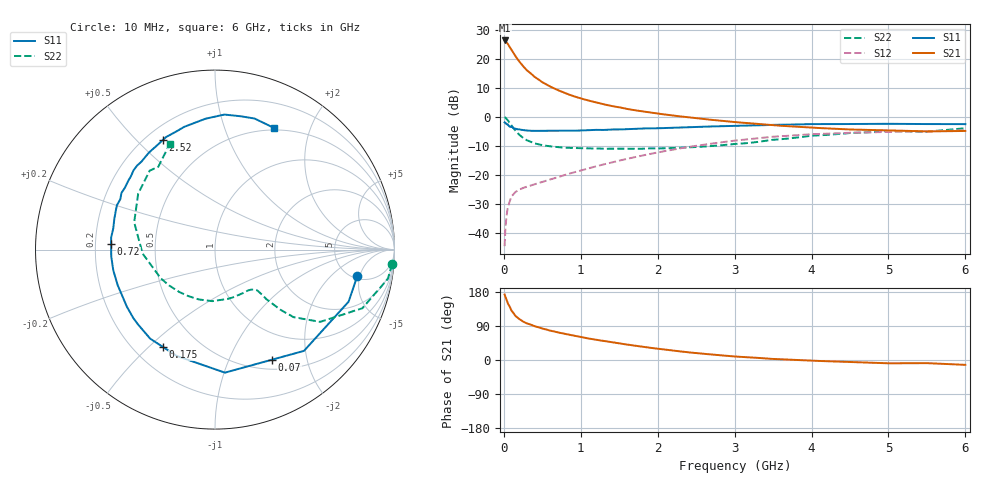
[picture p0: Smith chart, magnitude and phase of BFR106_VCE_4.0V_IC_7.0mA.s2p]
! Infineon Technologies  Discrete & RF Semiconductors
! BFR106
! VCE =  4.0 V,  IC =  7.0 mA
! Common Emitter S-Parameters:  Nov 2015
# GHz  S  MA  R  50
!  f  S11  S21  S12  S22
! GHz  MAG  ANG  MAG  ANG  MAG  ANG  MAG  ANG
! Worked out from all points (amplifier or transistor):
!   210 points, 10 MHz to 6 GHz, reference 50 ohm
!   highest |S21| = 26.4 dB at 10 MHz (marker M1)
!   |S21| within 3 dB of that: start of sweep to 94.12 MHz
!   unconditionally stable (mu >= 1): 558 MHz to 2.05 GHz; 4.996 GHz to end of sweep
!   at 185 MHz: K = 0.46, MSG = 22.5 dB, |S12| = -25.3 dB
!   at 1.52 GHz: K = 1.10, MAG = 7.2 dB, |S12| = -14.9 dB
!   at 6 GHz: K = 1.02, MAG = -0.9 dB, |S12| = -4.6 dB
!   S11 on the Smith chart (normalised r, x): 10 MHz: 5.42, -4.56; 70 MHz: 0.62, -1.46; 175 MHz: 0.32, -0.56; 720 MHz: 0.27, +0.02; 2.52 GHz: 0.27, +0.60; 6 GHz: 0.48, +1.49
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0.01  0.8064 -10.5  20.93 172.7  0.0059 85.4  0.9901 -4.7
0.02  0.7989 -21.3  20.68 167.1  0.0117 79.4  0.9769 -9.6
0.05  0.7511 -48.7  18.4 149.8  0.0269 66.7  0.8838 -21.7
0.07  0.6911 -62.5  16.6 143.0  0.033 59.9  0.8099 -26.2
0.1  0.6878 -85.4  14.46 130.0  0.0427 53.4  0.7106 -34.5
0.15  0.6296 -109.9  11.23 116.2  0.0506 45.3  0.5769 -40.7
0.175  0.6154 -117.9  10.13 112.5  0.0532 43.9  0.5355 -41.6
0.2  0.6136 -126.1  9.082 108.0  0.0559 42.6  0.4943 -42.6
0.24  0.5979 -136.1  7.822 102.8  0.0589 42.1  0.4452 -43.3
0.3  0.5848 -147.2  6.391 96.6  0.0627 42.9  0.3965 -44.0
0.4  0.5773 -159.9  4.923 89.2  0.069 44.8  0.3502 -43.7
0.5  0.5784 -168.5  3.981 83.0  0.0755 47.9  0.3251 -44.1
0.6  0.5793 -176.2  3.366 77.6  0.0833 50.7  0.3117 -45.5
0.72  0.5798 177.0  2.847 72.1  0.093 53.9  0.3004 -48.0
1.02  0.5863 163.1  2.056 59.9  0.1212 58.6  0.2893 -56.1
1.4  0.6092 148.8  1.549 47.1  0.1639 61.2  0.2844 -70.4
2.02  0.6399 129.3  1.138 29.2  0.2473 58.5  0.2868 -99.2
2.52  0.6756 115.6  0.948 17.9  0.3211 52.5  0.3039 -126.2
3.1  0.7085 102.1  0.798 8.1  0.4033 42.9  0.3486 -157.7
4.1  0.7538 84.6  0.645 -2.5  0.5095 24.6  0.4823 157.6
5.1  0.7607 72.1  0.583 -8.6  0.555 8.9  0.5681 128.6
6  0.7533 64.1  0.574 -12.8  0.5921 -2.0  0.6408 113.1
